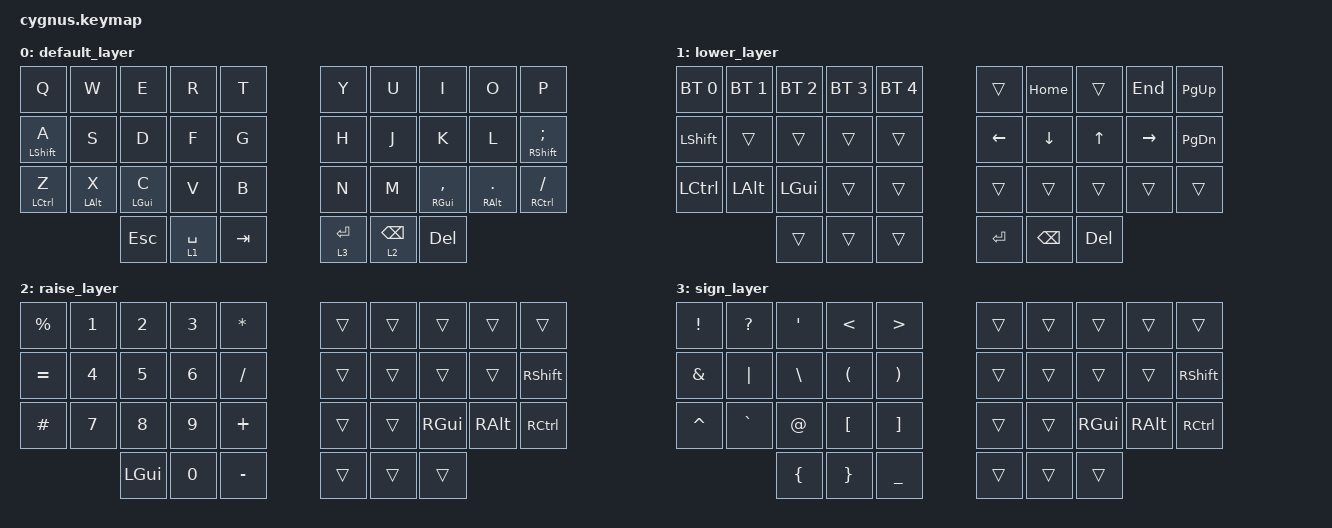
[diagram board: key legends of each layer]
/*
 * Copyright (c) 2024 The ZMK Contributors
 *
 * SPDX-License-Identifier: MIT
 */

#include <behaviors.dtsi>
#include <dt-bindings/zmk/keys.h>
#include <dt-bindings/zmk/bt.h>


/ {
    keymap {
        compatible = "zmk,keymap";

        default_layer {
            bindings = <
&kp Q                 &kp W                    &kp E                &kp R  &kp T        &kp Y                &kp U  &kp I           &kp O         &kp P
&mt LSHFT A           &kp S                    &kp D                &kp F  &kp G        &kp H                &kp J  &kp K           &kp L         &mt RSHFT SEMI
&mt LCTRL Z           &mt LALT X               &mt LGUI C           &kp V  &kp B        &kp N                &kp M  &mt RGUI COMMA  &mt RALT DOT  &mt RCTRL FSLH
             &kp ESC              &lt 1 SPACE              &kp TAB                      &lt 3 ENTER          &lt 2 BSPC  &kp DEL
            >;
        };

        lower_layer {
            bindings = <
&bt BT_SEL 0          &bt BT_SEL 1          &bt BT_SEL 2          &bt BT_SEL 3  &bt BT_SEL 4  &trans                  &kp HOME  &trans  &kp END    &kp PAGE_UP
&kp LSHFT             &trans                &trans                &trans        &trans        &kp LEFT                &kp DOWN  &kp UP  &kp RIGHT  &kp PAGE_DOWN
&kp LCTRL             &kp LALT              &kp LGUI              &trans        &trans        &trans                  &trans    &trans  &trans     &trans
              &trans                &trans                &trans                &kp RET       &kp BACKSPACE  &kp DEL
            >;
        };


        raise_layer {
            bindings = <
&kp PERCENT            &kp N1          &kp N2             &kp N3  &kp ASTRK  &trans          &trans  &trans    &trans    &trans
&kp EQUAL              &kp N4          &kp N5             &kp N6  &kp SLASH  &trans          &trans  &trans    &trans    &kp RSHFT
&kp HASH               &kp N7          &kp N8             &kp N9  &kp PLUS   &trans          &trans  &kp RGUI  &kp RALT  &kp RCTRL
             &kp LGUI          &kp N0          &kp MINUS          &trans     &trans  &trans
            >;
        };

        sign_layer {
            bindings = <
&kp EXCL             &kp QMARK            &kp SINGLE_QUOTE                  &kp LT    &kp GT    &trans          &trans  &trans    &trans    &trans
&kp AMPS             &kp PIPE             &kp BSLH                          &kp LPAR  &kp RPAR  &trans          &trans  &trans    &trans    &kp RSHFT
&kp CARET            &kp GRAVE            &kp AT                            &kp LBKT  &kp RBKT  &trans          &trans  &kp RGUI  &kp RALT  &kp RCTRL
           &kp LBRC             &kp RBRC                    &kp UNDERSCORE            &trans    &trans  &trans
            >;
        };
    };
};
